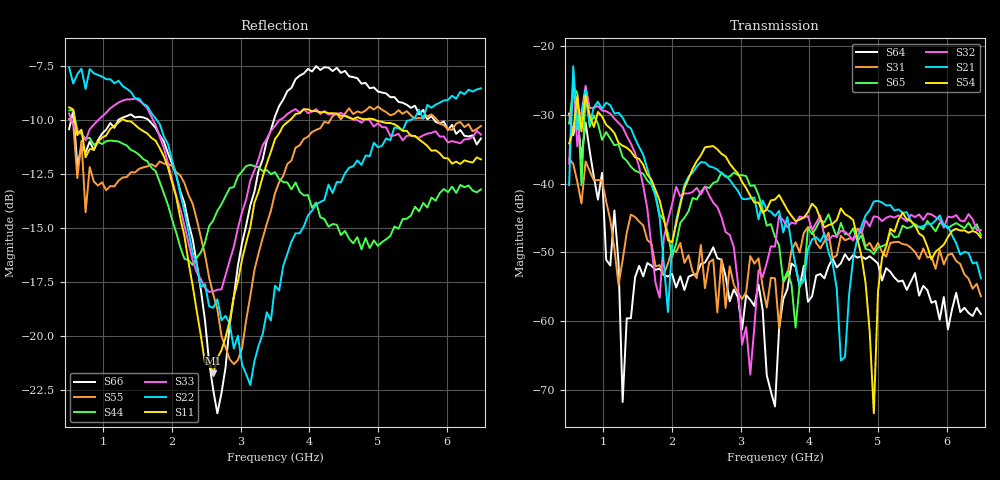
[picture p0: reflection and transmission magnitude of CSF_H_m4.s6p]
!Keysight Technologies,M9804A,MY58100912,A.14.10.03
!Date: Thursday, April 27, 2023 10:28:33
!Correction: S11(C  6-Port  )
!S12(C  6-Port  )
!S13(C  6-Port  )
!S14(C  6-Port  )
!S15(C  6-Port  )
!S16(C  6-Port  )
!S21(C  6-Port  )
!S22(C  6-Port  )
!S23(C  6-Port  )
!S24(C  6-Port  )
!S25(C  6-Port  )
!S26(C  6-Port  )
!S31(C  6-Port  )
!S32(C  6-Port  )
!S33(C  6-Port  )
!S34(C  6-Port  )
!S35(C  6-Port  )
!S36(C  6-Port  )
!S41(C  6-Port  )
!S42(C  6-Port  )
!S43(C  6-Port  )
!S44(C  6-Port  )
!S45(C  6-Port  )
!S46(C  6-Port  )
!S51(C  6-Port  )
!S52(C  6-Port  )
!S53(C  6-Port  )
!S54(C  6-Port  )
!S55(C  6-Port  )
!S56(C  6-Port  )
!S61(C  6-Port  )
!S62(C  6-Port  )
!S63(C  6-Port  )
!S64(C  6-Port  )
!S65(C  6-Port  )
!S66(C  6-Port  )
!S6P File: Measurement: :
# Hz S  RI  R 50
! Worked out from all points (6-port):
!   101 points, 500 MHz to 6.5 GHz, reference 50 ohm
!   strongest paths, dB at 500 MHz, 2 GHz, 3.5 GHz, 5 GHz, 6.5 GHz:
!     S54: -34.2, -48.5, -42.3, -55.7, -47.8
!     S21: -40.2, -49.0, -44.7, -42.5, -53.8
!     S32: -37.1, -43.0, -49.2, -44.9, -46.8
!     S65: -31.3, -50.7, -47.8, -49.2, -47.5
!     S31: -36.4, -49.7, -53.8, -48.6, -56.4
!     S64: -29.9, -53.1, -72.4, -51.6, -59.0
!   lowest |S11| = -21.7 dB at 2.6 GHz (marker M1), VSWR 1.18, Z = 42.7 + j1.99 ohm
!   |S11| at or under -10 dB: 584.7 MHz to 1.263 GHz (678.5 MHz wide, 73.4 % of centre); 1.309 GHz to 3.718 GHz (2.409 GHz wide, 95.8 % of centre); 4.967 GHz to end of sweep
